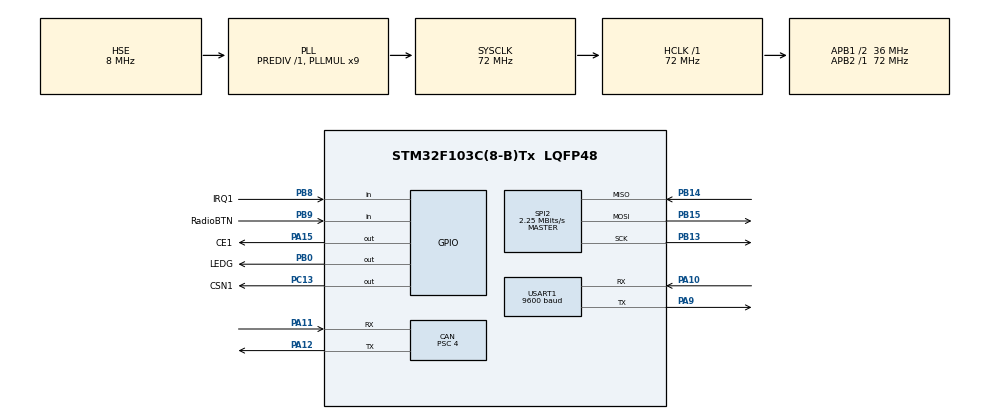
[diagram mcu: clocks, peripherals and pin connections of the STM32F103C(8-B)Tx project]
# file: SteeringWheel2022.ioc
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CAN.ABOM=ENABLE
CAN.AWUM=ENABLE
CAN.BS1=CAN_BS1_15TQ
CAN.BS2=CAN_BS2_2TQ
CAN.CalculateBaudRate=500000
CAN.CalculateTimeBit=1999.99
CAN.CalculateTimeQuantum=111.11111111111111
CAN.Prescaler=4
Dma.Request0=USART1_TX
Dma.Request1=USART1_RX
Dma.USART1_RX.1.Direction=DMA_PERIPH_TO_MEMORY
Dma.USART1_RX.1.Instance=DMA1_Channel5
Dma.USART1_RX.1.MemDataAlignment=DMA_MDATAALIGN_BYTE
Dma.USART1_RX.1.MemInc=DMA_MINC_ENABLE
Dma.USART1_RX.1.Mode=DMA_NORMAL
Dma.USART1_RX.1.PeriphDataAlignment=DMA_PDATAALIGN_BYTE
Dma.USART1_RX.1.PeriphInc=DMA_PINC_DISABLE
Dma.USART1_RX.1.Priority=DMA_PRIORITY_LOW
Dma.USART1_TX.0.Direction=DMA_MEMORY_TO_PERIPH
Dma.USART1_TX.0.Instance=DMA1_Channel4
Dma.USART1_TX.0.MemDataAlignment=DMA_MDATAALIGN_BYTE
Dma.USART1_TX.0.MemInc=DMA_MINC_ENABLE
Dma.USART1_TX.0.Mode=DMA_NORMAL
Dma.USART1_TX.0.PeriphDataAlignment=DMA_PDATAALIGN_BYTE
Dma.USART1_TX.0.PeriphInc=DMA_PINC_DISABLE
Dma.USART1_TX.0.Priority=DMA_PRIORITY_LOW
FREERTOS.Tasks01=defaultTask,0,128,StartDefaultTask,Default,NULL,Dynamic,NULL,NULL;Radio,0,128,Radio_send_task,Default,NULL,Dynamic,NULL,NULL;Display,0,128,Display_task,Default,NULL,Dynamic,NULL,NULL;CAN,0,128,CAN_task,Default,NULL,Dynamic,NULL,NULL
Mcu.Family=STM32F1
Mcu.Name=STM32F103C(8-B)Tx
Mcu.Package=LQFP48
NVIC.DMA1_Channel4_IRQn=true\:5\:0\:false\:false\:true\:true\:false\:true
NVIC.DMA1_Channel5_IRQn=true\:5\:0\:false\:false\:true\:true\:false\:true
NVIC.PriorityGroup=NVIC_PRIORITYGROUP_4
NVIC.TIM2_IRQn=true\:15\:0\:false\:false\:true\:false\:false\:true
NVIC.TimeBase=TIM2_IRQn
NVIC.TimeBaseIP=TIM2
NVIC.USART1_IRQn=true\:5\:0\:false\:false\:true\:true\:true\:true
NVIC.USB_HP_CAN1_TX_IRQn=true\:5\:0\:false\:false\:true\:true\:true\:true
NVIC.USB_LP_CAN1_RX0_IRQn=true\:5\:0\:false\:false\:true\:true\:true\:true
PA10.Mode=Asynchronous
PA10.Signal=USART1_RX
PA11.Mode=CAN_Activate
PA11.Signal=CAN_RX
PA12.Mode=CAN_Activate
PA12.Signal=CAN_TX
PA13.Mode=Serial_Wire
PA13.Signal=SYS_JTMS-SWDIO
PA14.Mode=Serial_Wire
PA14.Signal=SYS_JTCK-SWCLK
PA15.GPIO_Label=CE1
PA15.Signal=GPIO_Output
PA9.Mode=Asynchronous
PA9.Signal=USART1_TX
PB0.GPIO_Label=LEDG
PB0.Signal=GPIO_Output
PB13.Mode=Full_Duplex_Master
PB13.Signal=SPI2_SCK
PB14.Mode=Full_Duplex_Master
PB14.Signal=SPI2_MISO
PB15.Mode=Full_Duplex_Master
PB15.Signal=SPI2_MOSI
PB8.GPIO_Label=IRQ1
PB8.GPIO_PuPd=GPIO_PULLDOWN
PB8.Signal=GPIO_Input
PB9.GPIO_Label=RadioBTN
PB9.GPIO_PuPd=GPIO_PULLDOWN
PB9.Signal=GPIO_Input
PC13-TAMPER-RTC.GPIO_Label=CSN1
PC13-TAMPER-RTC.GPIO_PuPd=GPIO_PULLUP
PC13-TAMPER-RTC.Signal=GPIO_Output
PD0-OSC_IN.Mode=HSE-External-Oscillator
PD0-OSC_IN.Signal=RCC_OSC_IN
PD1-OSC_OUT.Mode=HSE-External-Oscillator
PD1-OSC_OUT.Signal=RCC_OSC_OUT
ProjectManager.HeapSize=0x200
ProjectManager.StackSize=0x400
ProjectManager.TargetToolchain=MDK-ARM V5
RCC.AHBFreq_Value=72000000
RCC.APB1CLKDivider=RCC_HCLK_DIV2
RCC.APB1Freq_Value=36000000
RCC.APB1TimFreq_Value=72000000
RCC.APB2Freq_Value=72000000
RCC.APB2TimFreq_Value=72000000
RCC.HCLKFreq_Value=72000000
RCC.PLLMUL=RCC_PLL_MUL9
RCC.PLLSourceVirtual=RCC_PLLSOURCE_HSE
RCC.SYSCLKFreq_VALUE=72000000
RCC.SYSCLKSource=RCC_SYSCLKSOURCE_PLLCLK
RCC.USBFreq_Value=72000000
SPI2.BaudRatePrescaler=SPI_BAUDRATEPRESCALER_16
SPI2.CalculateBaudRate=2.25 MBits/s
SPI2.Direction=SPI_DIRECTION_2LINES
SPI2.Mode=SPI_MODE_MASTER
SPI2.VirtualType=VM_MASTER
USART1.BaudRate=9600
USART1.VirtualMode=VM_ASYNC
VP_FREERTOS_VS_CMSIS_V1.Mode=CMSIS_V1
VP_SYS_VS_tim2.Mode=TIM2
board=custom

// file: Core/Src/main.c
/* USER CODE BEGIN Header */
/**
  ******************************************************************************
  * @file           : main.c
  * @brief          : Main program body
  ******************************************************************************
  * @attention
  *
  * <h2><center>&copy; Copyright (c) 2022 STMicroelectronics.
  * All rights reserved.</center></h2>
  *
  * This software component is licensed by ST under BSD 3-Clause license,
  * the "License"; You may not use this file except in compliance with the
  * License. You may obtain a copy of the License at:
  *                        opensource.org/licenses/BSD-3-Clause
  *
  ******************************************************************************
  */
/* USER CODE END Header */
#include "main.h"
#include "cmsis_os.h"

/* USER CODE BEGIN Includes */
#include "NRF24.h"
#include <string.h>
#include <stdio.h>
#include "Nextion.h"
#include <inttypes.h>
#include <math.h>
/* USER CODE END Includes */

CAN_HandleTypeDef hcan;

SPI_HandleTypeDef hspi2;

UART_HandleTypeDef huart1;
DMA_HandleTypeDef hdma_usart1_tx;
DMA_HandleTypeDef hdma_usart1_rx;

osThreadId defaultTaskHandle;
osThreadId RadioHandle;
osThreadId DisplayHandle;
osThreadId CANHandle;
/* USER CODE BEGIN PV */
CAN_TxHeaderTypeDef pTxHeader;
CAN_RxHeaderTypeDef pRxHeader;
CAN_FilterTypeDef sFilterConfig;
uint32_t CAN_TxMailbox;
uint8_t CAN_TX_data[8], CAN_RX_data[8];
/**Battery Begin**/

uint16_t Cell_lvls_u16[8][18]={0};// Cell lvls from CAN
float Cell_lvls_float[8][18]={0};// Cell lvls in Volts
uint16_t Stack_lvls_u16[8]={0};// Stack lvls from CAN
float Stack_lvls_float[8]={0};// Stack lvls in Volts

/**Battery End**/

/**AMI Begin**/

uint8_t UART_RX[20]={0};// Message to display
uint8_t recieve1=0x26;// Message from CAN
/**AMI End**/

/**nrf 104 (Radio) Begin**/
uint8_t buf1[1]={0};// Buffer for sending by nrf104
char str1[20]={0};// For nrf 104 debuging
/**nrf 104 (Radio) End**/

//uint8_t buf2[1]={0};
uint8_t dt_reg=0;
char Autonomius_mission[15]="Error";
//uint8_t test_nextion_mes[13]= {0x53, 0x74, 0x61, 0x63, 0x6B, 0x30, 0x2E, 0x76, 0x61, 0x6C, 0x3D, 0x31, 0x30};
/* USER CODE END PV */

void SystemClock_Config(void);
static void MX_GPIO_Init(void);
static void MX_SPI2_Init(void);
static void MX_DMA_Init(void);
static void MX_USART1_UART_Init(void);
static void MX_CAN_Init(void);
void StartDefaultTask(void const * argument);
void Radio_send_task(void const * argument);
void Display_task(void const * argument);
void CAN_task(void const * argument);

int main(void)
{
  /* USER CODE BEGIN 1 */
	uint8_t retr_cnt, dt;
  /* USER CODE END 1 */

  /* MCU Configuration--------------------------------------------------------*/

  /* Reset of all peripherals, Initializes the Flash interface and the Systick. */
  HAL_Init();

  /* Configure the system clock */
  SystemClock_Config();

  /* Initialize all configured peripherals */
  MX_GPIO_Init();
  MX_SPI2_Init();
  MX_DMA_Init();
  MX_USART1_UART_Init();
  MX_CAN_Init();
  /* USER CODE BEGIN 2 */
	CSN1_OFF;
	NRF24_ini();
	dt_reg = NRF24_ReadReg(CONFIG);
	HAL_Delay(200);
				NRF24L01_Send(buf1);

  /* USER CODE END 2 */

  /* Create the thread(s) */
  /* definition and creation of defaultTask */
  osThreadDef(defaultTask, StartDefaultTask, osPriorityNormal, 0, 128);
  defaultTaskHandle = osThreadCreate(osThread(defaultTask), NULL);

  /* definition and creation of Radio */
  osThreadDef(Radio, Radio_send_task, osPriorityNormal, 0, 128);
  RadioHandle = osThreadCreate(osThread(Radio), NULL);

  /* definition and creation of Display */
  osThreadDef(Display, Display_task, osPriorityNormal, 0, 128);
  DisplayHandle = osThreadCreate(osThread(Display), NULL);

  /* definition and creation of CAN */
  osThreadDef(CAN, CAN_task, osPriorityNormal, 0, 128);
  CANHandle = osThreadCreate(osThread(CAN), NULL);

  /* Start scheduler */
  osKernelStart();

  /* We should never get here as control is now taken by the scheduler */
  /* Infinite loop */
  /* USER CODE BEGIN WHILE */
  while (1)
  {
						HAL_Delay(30);

//		NRF24L01_Receive();
//		retr_cnt = dt & 0xF;
//		i++;
//		retr_cnt_full += retr_cnt;
		dt_reg = NRF24_ReadReg(CONFIG);

		sprintf(str1,"CONFIG: 0x%02X\r\n",dt_reg);

//		HAL_UART_Transmit(&huart1,(uint8_t*)str1,strlen(str1),0x1000);

		dt_reg = NRF24_ReadReg(EN_AA);

		sprintf(str1,"EN_AA: 0x%02X\r\n",dt_reg);

//		HAL_UART_Transmit(&huart1,(uint8_t*)str1,strlen(str1),0x1000);

		dt_reg = NRF24_ReadReg(EN_RXADDR);

		sprintf(str1,"EN_RXADDR: 0x%02X\r\n",dt_reg);

//		HAL_UART_Transmit(&huart1,(uint8_t*)str1,strlen(str1),0x1000);

		dt_reg = NRF24_ReadReg(STATUS);

//		sprintf(str1,"STATUS: 0x%02X\r\n",dt_reg);

//		HAL_UART_Transmit(&huart1,(uint8_t*)str1,strlen(str1),0x1000);

		dt_reg = NRF24_ReadReg(RF_SETUP);
//		sprintf(str1,"RF_SETUP: 0x%02X\r\n",dt_reg);

//		HAL_UART_Transmit(&huart1,(uint8_t*)str1,strlen(str1),0x1000);

//		NRF24_Read_Buf(TX_ADDR,buf1,3);

//		sprintf(str1,"TX_ADDR: 0x%02X, 0x%02X, 0x%02X\r\n",buf1[0],buf1[1],buf1[2]);

//		HAL_UART_Transmit(&huart1,(uint8_t*)str1,strlen(str1),0x1000);

//		NRF24_Read_Buf(RX_ADDR_P0,buf1,3);

//		sprintf(str1,"RX_ADDR: 0x%02X, 0x%02X, 0x%02X\r\n",buf1[0],buf1[1],buf1[2]);

//		HAL_UART_Transmit(&huart1,(uint8_t*)str1,strlen(str1),0x1000);
    /* USER CODE END WHILE */

  }
}

void SystemClock_Config(void)
{
  RCC_OscInitTypeDef RCC_OscInitStruct = {0};
  RCC_ClkInitTypeDef RCC_ClkInitStruct = {0};

  /** Initializes the RCC Oscillators according to the specified parameters
  * in the RCC_OscInitTypeDef structure.
  */
  RCC_OscInitStruct.OscillatorType = RCC_OSCILLATORTYPE_HSE;
  RCC_OscInitStruct.HSEState = RCC_HSE_ON;
  RCC_OscInitStruct.HSEPredivValue = RCC_HSE_PREDIV_DIV1;
  RCC_OscInitStruct.HSIState = RCC_HSI_ON;
  RCC_OscInitStruct.PLL.PLLState = RCC_PLL_ON;
  RCC_OscInitStruct.PLL.PLLSource = RCC_PLLSOURCE_HSE;
  RCC_OscInitStruct.PLL.PLLMUL = RCC_PLL_MUL9;
  if (HAL_RCC_OscConfig(&RCC_OscInitStruct) != HAL_OK)
  {
    Error_Handler();
  }
  /** Initializes the CPU, AHB and APB buses clocks
  */
  RCC_ClkInitStruct.ClockType = RCC_CLOCKTYPE_HCLK|RCC_CLOCKTYPE_SYSCLK
                              |RCC_CLOCKTYPE_PCLK1|RCC_CLOCKTYPE_PCLK2;
  RCC_ClkInitStruct.SYSCLKSource = RCC_SYSCLKSOURCE_PLLCLK;
  RCC_ClkInitStruct.AHBCLKDivider = RCC_SYSCLK_DIV1;
  RCC_ClkInitStruct.APB1CLKDivider = RCC_HCLK_DIV2;
  RCC_ClkInitStruct.APB2CLKDivider = RCC_HCLK_DIV1;

  if (HAL_RCC_ClockConfig(&RCC_ClkInitStruct, FLASH_LATENCY_2) != HAL_OK)
  {
    Error_Handler();
  }
}

static void MX_CAN_Init(void)
{

  hcan.Instance = CAN1;
  hcan.Init.Prescaler = 4;
  hcan.Init.Mode = CAN_MODE_NORMAL;
  hcan.Init.SyncJumpWidth = CAN_SJW_1TQ;
  hcan.Init.TimeSeg1 = CAN_BS1_15TQ;
  hcan.Init.TimeSeg2 = CAN_BS2_2TQ;
  hcan.Init.TimeTriggeredMode = DISABLE;
  hcan.Init.AutoBusOff = ENABLE;
  hcan.Init.AutoWakeUp = ENABLE;
  hcan.Init.AutoRetransmission = DISABLE;
  hcan.Init.ReceiveFifoLocked = DISABLE;
  hcan.Init.TransmitFifoPriority = DISABLE;
  if (HAL_CAN_Init(&hcan) != HAL_OK)
  {
    Error_Handler();
  }
  /* USER CODE BEGIN CAN_Init 2 */
	pTxHeader.DLC = 8;
	pTxHeader.IDE = CAN_ID_STD;
	pTxHeader.RTR = CAN_RTR_DATA;
	pTxHeader.StdId = 0x0002;
	pTxHeader.TransmitGlobalTime = DISABLE;

	sFilterConfig.FilterBank = 0;
	sFilterConfig.FilterMode = CAN_FILTERMODE_IDMASK;
	sFilterConfig.FilterFIFOAssignment = CAN_RX_FIFO0;
	sFilterConfig.SlaveStartFilterBank = 0;
	sFilterConfig.FilterIdHigh = 0x0000;
	sFilterConfig.FilterIdLow = 0x0100<<5;
	sFilterConfig.FilterMaskIdHigh = 0x0000;
	sFilterConfig.FilterMaskIdLow = 0x07C0<<5;
	sFilterConfig.FilterScale = CAN_FILTERSCALE_16BIT;
	sFilterConfig.FilterActivation = ENABLE;

	if (HAL_CAN_ConfigFilter(&hcan, &sFilterConfig)!= HAL_OK)
    {
      // Filter configuration Error
      Error_Handler();
    }

	if(HAL_CAN_Start(&hcan)!= HAL_OK)
	{
      //Start Error
		Error_Handler();
    }
  /* Activate CAN RX notification */
	if (HAL_CAN_ActivateNotification(&hcan, CAN_IT_RX_FIFO0_MSG_PENDING | CAN_IT_TX_MAILBOX_EMPTY) != HAL_OK)
	{
     /* Notification Error */
		Error_Handler();
	}
  /* USER CODE END CAN_Init 2 */

}

static void MX_SPI2_Init(void)
{

  /* SPI2 parameter configuration*/
  hspi2.Instance = SPI2;
  hspi2.Init.Mode = SPI_MODE_MASTER;
  hspi2.Init.Direction = SPI_DIRECTION_2LINES;
  hspi2.Init.DataSize = SPI_DATASIZE_8BIT;
  hspi2.Init.CLKPolarity = SPI_POLARITY_LOW;
  hspi2.Init.CLKPhase = SPI_PHASE_1EDGE;
  hspi2.Init.NSS = SPI_NSS_SOFT;
  hspi2.Init.BaudRatePrescaler = SPI_BAUDRATEPRESCALER_16;
  hspi2.Init.FirstBit = SPI_FIRSTBIT_MSB;
  hspi2.Init.TIMode = SPI_TIMODE_DISABLE;
  hspi2.Init.CRCCalculation = SPI_CRCCALCULATION_DISABLE;
  hspi2.Init.CRCPolynomial = 10;
  if (HAL_SPI_Init(&hspi2) != HAL_OK)
  {
    Error_Handler();
  }

}

static void MX_USART1_UART_Init(void)
{

  huart1.Instance = USART1;
  huart1.Init.BaudRate = 9600;
  huart1.Init.WordLength = UART_WORDLENGTH_8B;
  huart1.Init.StopBits = UART_STOPBITS_1;
  huart1.Init.Parity = UART_PARITY_NONE;
  huart1.Init.Mode = UART_MODE_TX_RX;
  huart1.Init.HwFlowCtl = UART_HWCONTROL_NONE;
  huart1.Init.OverSampling = UART_OVERSAMPLING_16;
  if (HAL_UART_Init(&huart1) != HAL_OK)
  {
    Error_Handler();
  }

}

static void MX_DMA_Init(void)
{

  /* DMA controller clock enable */
  __HAL_RCC_DMA1_CLK_ENABLE();

  /* DMA interrupt init */
  /* DMA1_Channel4_IRQn interrupt configuration */
  HAL_NVIC_SetPriority(DMA1_Channel4_IRQn, 5, 0);
  HAL_NVIC_EnableIRQ(DMA1_Channel4_IRQn);
  /* DMA1_Channel5_IRQn interrupt configuration */
  HAL_NVIC_SetPriority(DMA1_Channel5_IRQn, 5, 0);
  HAL_NVIC_EnableIRQ(DMA1_Channel5_IRQn);

}

static void MX_GPIO_Init(void)
{
  GPIO_InitTypeDef GPIO_InitStruct = {0};

  /* GPIO Ports Clock Enable */
  __HAL_RCC_GPIOC_CLK_ENABLE();
  __HAL_RCC_GPIOD_CLK_ENABLE();
  __HAL_RCC_GPIOB_CLK_ENABLE();
  __HAL_RCC_GPIOA_CLK_ENABLE();

  /*Configure GPIO pin Output Level */
  HAL_GPIO_WritePin(CSN1_GPIO_Port, CSN1_Pin, GPIO_PIN_RESET);

  /*Configure GPIO pin Output Level */
  HAL_GPIO_WritePin(LEDG_GPIO_Port, LEDG_Pin, GPIO_PIN_RESET);

  /*Configure GPIO pin Output Level */
  HAL_GPIO_WritePin(CE1_GPIO_Port, CE1_Pin, GPIO_PIN_RESET);

  /*Configure GPIO pin : CSN1_Pin */
  GPIO_InitStruct.Pin = CSN1_Pin;
  GPIO_InitStruct.Mode = GPIO_MODE_OUTPUT_PP;
  GPIO_InitStruct.Pull = GPIO_PULLUP;
  GPIO_InitStruct.Speed = GPIO_SPEED_FREQ_LOW;
  HAL_GPIO_Init(CSN1_GPIO_Port, &GPIO_InitStruct);

  /*Configure GPIO pin : LEDG_Pin */
  GPIO_InitStruct.Pin = LEDG_Pin;
  GPIO_InitStruct.Mode = GPIO_MODE_OUTPUT_PP;
  GPIO_InitStruct.Pull = GPIO_NOPULL;
  GPIO_InitStruct.Speed = GPIO_SPEED_FREQ_LOW;
  HAL_GPIO_Init(LEDG_GPIO_Port, &GPIO_InitStruct);

  /*Configure GPIO pin : CE1_Pin */
  GPIO_InitStruct.Pin = CE1_Pin;
  GPIO_InitStruct.Mode = GPIO_MODE_OUTPUT_PP;
  GPIO_InitStruct.Pull = GPIO_NOPULL;
  GPIO_InitStruct.Speed = GPIO_SPEED_FREQ_LOW;
  HAL_GPIO_Init(CE1_GPIO_Port, &GPIO_InitStruct);

  /*Configure GPIO pins : IRQ1_Pin RadioBTN_Pin */
  GPIO_InitStruct.Pin = IRQ1_Pin|RadioBTN_Pin;
  GPIO_InitStruct.Mode = GPIO_MODE_INPUT;
  GPIO_InitStruct.Pull = GPIO_PULLDOWN;
  HAL_GPIO_Init(GPIOB, &GPIO_InitStruct);

}

/* USER CODE BEGIN 4 */
void HAL_UART_RxCpltCallback (UART_HandleTypeDef *haurt)
{
	HAL_UART_Receive_DMA (&huart1, UART_RX, sizeof(UART_RX));
}

void HAL_CAN_RxFifo0MsgPendingCallback (CAN_HandleTypeDef *hcan)
{
	HAL_CAN_GetRxMessage (hcan, CAN_RX_FIFO0, &pRxHeader, CAN_RX_data);
}
void HAL_CAN_TxMailbox0CompleteCallback (CAN_HandleTypeDef *hcan)
{
}
/* USER CODE END 4 */

void StartDefaultTask(void const * argument)
{
  for(;;)
  {
    osDelay(1);
  }
}

void Radio_send_task(void const * argument)
{
  /* USER CODE BEGIN Radio_send_task */
	uint8_t on=0x6F, off=0x85;
	char green[2] = N_RADIO_GREEN;
	char red[2] = N_RADIO_RED;
  /* Infinite loop */
  for(;;)
  {
    osDelay(30);
				if (RadioBTN)
		{
			memcpy(buf1, &on,1);
			NRF24L01_Send(buf1);
			NEXTION_SendInt ("r0", N_BCO, 2016);
//			NEXTION_SendInt ("r0", N_PCO, 2016);
			LED_OFF;
		}
		else if (!RadioBTN)
		{
			memcpy(buf1, &off,1);
			NRF24L01_Send(buf1);
			NEXTION_SendInt ("r0", N_BCO, 63488);
//			NEXTION_SendInt ("r0", N_PCO, 63488);
			LED_ON;
		}
				dt_reg = NRF24_ReadReg(CONFIG);

		sprintf(str1,"CONFIG: 0x%02X\r\n",dt_reg);

//		HAL_UART_Transmit(&huart1,(uint8_t*)str1,strlen(str1),0x1000);

		dt_reg = NRF24_ReadReg(EN_AA);

		sprintf(str1,"EN_AA: 0x%02X\r\n",dt_reg);

//		HAL_UART_Transmit(&huart1,(uint8_t*)str1,strlen(str1),0x1000);

		dt_reg = NRF24_ReadReg(EN_RXADDR);

		sprintf(str1,"EN_RXADDR: 0x%02X\r\n",dt_reg);

//		HAL_UART_Transmit(&huart1,(uint8_t*)str1,strlen(str1),0x1000);

		dt_reg = NRF24_ReadReg(STATUS);

//		sprintf(str1,"STATUS: 0x%02X\r\n",dt_reg);

//		HAL_UART_Transmit(&huart1,(uint8_t*)str1,strlen(str1),0x1000);

		dt_reg = NRF24_ReadReg(RF_SETUP);
  }
  /* USER CODE END Radio_send_task */
}

void Display_task(void const * argument)
{
  /* USER CODE BEGIN Display_task */
  /* Infinite loop */
  for(;;)
  {
		osDelay(100);
		NEXTION_SendInt ("r0", N_VAL, 0);
		NEXTION_SendString("AMI", N_TXT,current_mission(recieve1));
		osDelay(100);

  }
  /* USER CODE END Display_task */
}

void CAN_task(void const * argument)
{
  /* USER CODE BEGIN CAN_task */
	uint8_t stack_num = 0;
	uint8_t cell_num = 0;
	uint8_t stack_volt_perc = 10;
	char stack_volt_perc_str[4] = {0,};
	size_t stack_volt_perc_str_len = 0;
	size_t uart_mes_id_len = 0;
	char uart_mes_id[7] = {0};
	size_t uart_mesprogress_id_len = 0;
	char uart_mesprogress_id[7] = {0};
	uint8_t ffdf[5] ="vvvvv";
  /* Infinite loop */
  for(;;)
  {
		osDelay(50);
		stack_num = (pRxHeader.StdId - 0x100)/8;
		if ((pRxHeader.StdId - 0x100)%8 == 4)
		{
			Stack_lvls_u16[stack_num] =(uint16_t)(CAN_RX_data[5]) * 0x100 + CAN_RX_data[4];
			Stack_lvls_float[stack_num] =Stack_lvls_u16[stack_num]/100.;
			stack_volt_perc = (uint8_t)(GET_PERCENT(Stack_lvls_float[stack_num]));
			stack_volt_perc_str_len = sprintf(stack_volt_perc_str, "%"PRIu8"%%",stack_volt_perc);
			uart_mes_id_len = sprintf(uart_mes_id, "S%"PRIu8"_perc",stack_num);
			NEXTION_SendString (uart_mes_id, N_TXT, stack_volt_perc_str);
			uart_mesprogress_id_len = sprintf(uart_mesprogress_id, "Stack%"PRIu8"",stack_num);
//			NEXTION_SendString (uart_mesprogress_id, N_VAL, (char*)&stack_volt_perc);
			NEXTION_SendInt (uart_mesprogress_id, N_VAL, stack_volt_perc);

		}
//    osDelay(5);
  }
  /* USER CODE END CAN_task */
}

void HAL_TIM_PeriodElapsedCallback(TIM_HandleTypeDef *htim)
{
  if (htim->Instance == TIM2) {
    HAL_IncTick();
  }
}

void Error_Handler(void)
{
  __disable_irq();
  while (1)
  {
  }
}

/************************ (C) COPYRIGHT STMicroelectronics *****END OF FILE****/
